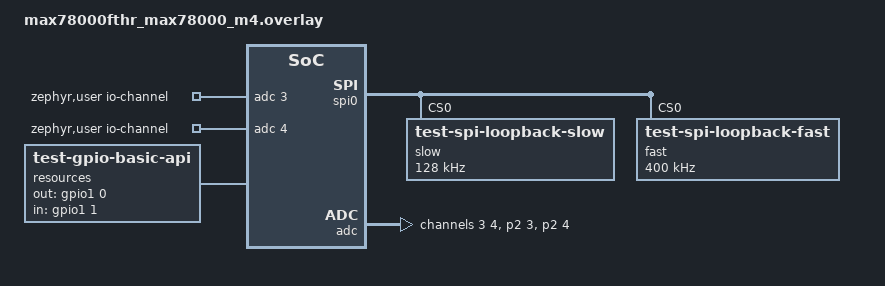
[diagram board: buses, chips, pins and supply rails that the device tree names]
/*
 * Copyright (c) 2025 Analog Devices, Inc.
 *
 * SPDX-License-Identifier: Apache-2.0
 */

tst_dma0: &dma0 {};

&spi0 {
	dmas = <&dma0 1 MAX78_DMA_SLOT_SPI0_TX>, <&dma0 2 MAX78_DMA_SLOT_SPI0_RX>;
	dma-names = "tx", "rx";
	slow@0 {
		compatible = "test-spi-loopback-slow";
		reg = <0>;
		spi-max-frequency = <128000>;
	};
	fast@0 {
		compatible = "test-spi-loopback-fast";
		reg = <0>;
		spi-max-frequency = <400000>;
	};
};

/ {
	zephyr,user {
		io-channels = <&adc 3>, <&adc 4>;
	};
};

&adc {
	status = "okay";
	pinctrl-0 = <&ain3_p2_3 &ain4_p2_4>;
	pinctrl-names = "default";
	#address-cells = <1>;
	#size-cells = <0>;
	channel@3 {
		reg = <3>;
		zephyr,gain = "ADC_GAIN_1";
		zephyr,reference = "ADC_REF_INTERNAL";
		zephyr,acquisition-time = <ADC_ACQ_TIME_DEFAULT>;
		zephyr,resolution = <10>;
	};
	channel@4 {
		reg = <4>;
		zephyr,gain = "ADC_GAIN_1";
		zephyr,reference = "ADC_REF_INTERNAL";
		zephyr,acquisition-time = <ADC_ACQ_TIME_DEFAULT>;
		zephyr,resolution = <10>;
	};
};

/ {
	resources {
		compatible = "test-gpio-basic-api";
		out-gpios = <&gpio1 0 0>;
		in-gpios = <&gpio1 1 0>;
	};
};
